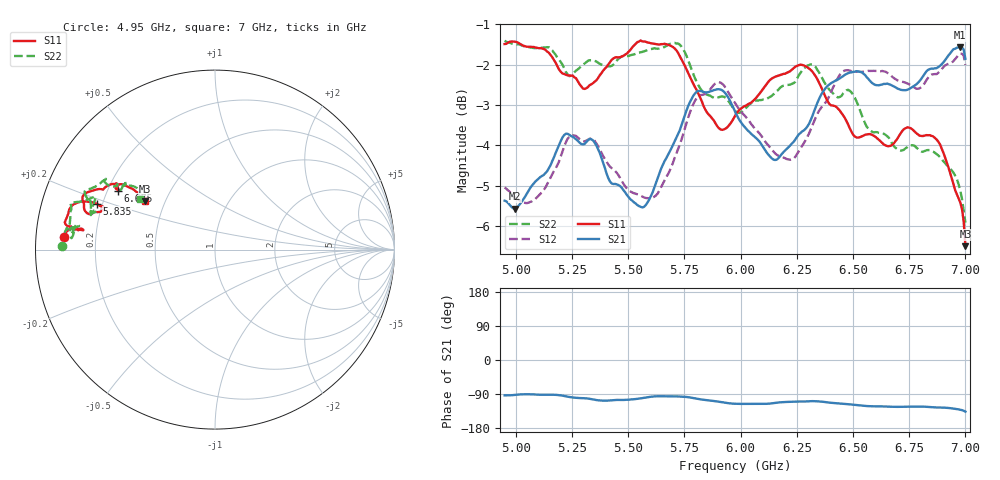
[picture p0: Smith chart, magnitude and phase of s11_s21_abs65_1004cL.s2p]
! MS46122B
! 1919307/90821646
! 5/16/2022 12:56:43 PM
! C:\USERS\PC_\DESKTOP\CARACTERIZACION\MEDICIONES\BANDA ANCHA\S11_S21_ABS65_1004C.S2P
! CHANNEL.1
! TR.MEASUREMENT
! CORRECTED.DATA
# GHZ S RI R 50.0
! FREQ.GHZ  S11RE  S11IM  S21RE  S21IM  S12RE  S12IM  S22RE  S22IM
!; PortSelection: Port_12
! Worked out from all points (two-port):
!   272 points, 4.95 GHz to 7 GHz, reference 50 ohm
!   highest |S21| = -1.57 dB at 6.977 GHz (marker M1); lowest = -5.6 dB at 4.995 GHz (marker M2)
!   |S21| within 3 dB of the highest: 5.147 GHz to 5.396 GHz (249.6 MHz wide, 4.73 % of centre); 5.647 GHz to end of sweep
!   lowest |S11| = -6.5 dB at 7 GHz (marker M3), VSWR 2.79, Z = 19.4 + j13.5 ohm
!   |S11| at or under -10 dB: nowhere
!   |S22| runs from -5.9 to -1.4 dB; largest |S21 - S12| = 0.046
!   S11 on the Smith chart (normalised r, x): 4.95 GHz: 0.09, +0.04; 5.835 GHz: 0.18, +0.18; 6.675 GHz: 0.24, +0.27; 7 GHz: 0.39, +0.27
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4.95  -0.8397 0.0693  -0.0309 -0.5377  -0.0362 -0.5582  -0.8503 0.0219
4.995387  -0.8453 0.0715  -0.0197 -0.5261  -0.0307 -0.5429  -0.8381 0.0868
5.169373  -0.7961 0.1223  -0.0182 -0.6092  -0.032 -0.5853  -0.8147 0.1111
5.237454  -0.7626 0.1072  -0.0853 -0.6446  -0.0589 -0.6431  -0.7577 0.1306
5.29797  -0.7339 0.1108  -0.1173 -0.6215  -0.0922 -0.6316  -0.7845 0.1183
5.350923  -0.7488 0.1094  -0.1633 -0.6141  -0.1329 -0.6249  -0.8003 0.0637
5.464391  -0.8011 0.1292  -0.151 -0.5407  -0.178 -0.5461  -0.8017 0.1224
5.562731  -0.834 0.1583  -0.0964 -0.5194  -0.1126 -0.5332  -0.8073 0.1644
5.638376  -0.8165 0.2025  -0.0567 -0.5789  -0.0663 -0.5503  -0.8008 0.2247
5.729151  -0.7718 0.2593  -0.0736 -0.6542  -0.0738 -0.6274  -0.7998 0.2605
5.835055  -0.6581 0.255  -0.1903 -0.7095  -0.163 -0.7109  -0.6717 0.2955
5.903137  -0.6195 0.2351  -0.2545 -0.6955  -0.2245 -0.7216  -0.6852 0.2329
5.978782  -0.6565 0.2088  -0.2982 -0.6235  -0.2944 -0.6452  -0.6613 0.2129
6.092251  -0.7083 0.2012  -0.2776 -0.5686  -0.3007 -0.5741  -0.6917 0.1921
6.145203  -0.7295 0.2314  -0.2443 -0.5544  -0.2641 -0.5611  -0.6913 0.233
6.319188  -0.7102 0.3197  -0.2177 -0.6504  -0.2196 -0.6308  -0.7232 0.3285
6.455351  -0.585 0.3619  -0.3299 -0.6941  -0.304 -0.7174  -0.6149 0.3957
6.659594  -0.5363 0.3294  -0.4109 -0.6289  -0.4338 -0.6408  -0.5456 0.3433
6.674723  -0.5395 0.329  -0.4127 -0.624  -0.4305 -0.635  -0.5391 0.3332
6.856273  -0.5356 0.3634  -0.4491 -0.6441  -0.4556 -0.6243  -0.5034 0.3615
6.977306  -0.4311 0.3183  -0.5505 -0.6276  -0.5268 -0.6281  -0.4351 0.3432
7  -0.3888 0.2692  -0.5837 -0.5585  -0.5595 -0.5634  -0.4183 0.2845
